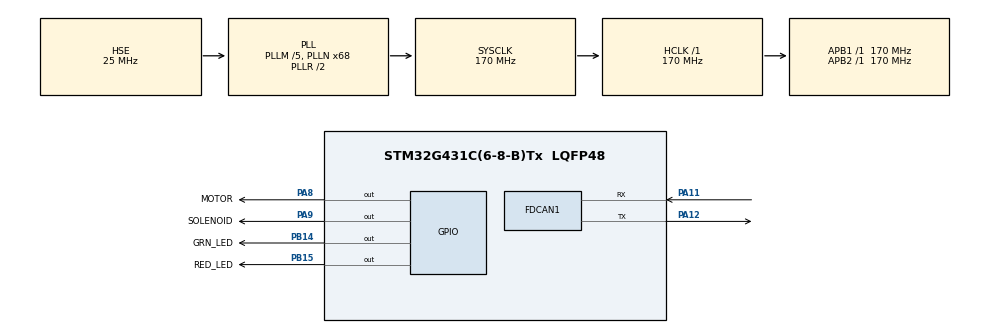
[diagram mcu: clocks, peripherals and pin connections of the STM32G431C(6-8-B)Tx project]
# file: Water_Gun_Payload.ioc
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FDCAN1.CalculateBaudRateNominal=1000000
FDCAN1.CalculateTimeBitNominal=1000
FDCAN1.CalculateTimeQuantumNominal=100.0
FDCAN1.ClockDivider=FDCAN_CLOCK_DIV1
FDCAN1.NominalPrescaler=17
FDCAN1.NominalTimeSeg1=7
FDCAN1.NominalTimeSeg2=2
FREERTOS.Mutexes01=CanardlibMutex,Dynamic,NULL,Available
FREERTOS.Tasks01=CanStatus,16,256,StartCanStatus,Default,NULL,Dynamic,NULL,NULL;CanRx,43,512,StartCanRx,Default,NULL,Dynamic,NULL,NULL;CanTx,32,256,StartCanTx,Default,NULL,Dynamic,NULL,NULL;LedBlink,14,128,StartLedBlink,Default,NULL,Dynamic,NULL,NULL;MotorUpdate,36,256,StartMotorUpdate,Default,NULL,Dynamic,NULL,NULL;ErrorLED,15,128,StartErrorLED,Default,NULL,Dynamic,NULL,NULL
FREERTOS.configMINIMAL_STACK_SIZE=128
FREERTOS.configTOTAL_HEAP_SIZE=12000
Mcu.Family=STM32G4
Mcu.Name=STM32G431C(6-8-B)Tx
Mcu.Package=LQFP48
NVIC.FDCAN1_IT0_IRQn=true\:5\:0\:false\:false\:true\:true\:true\:true\:true
NVIC.PriorityGroup=NVIC_PRIORITYGROUP_4
NVIC.TIM7_IRQn=true\:15\:0\:false\:false\:true\:false\:false\:true\:true
NVIC.TimeBase=TIM7_IRQn
NVIC.TimeBaseIP=TIM7
PA11.Mode=FDCAN_Activate
PA11.Signal=FDCAN1_RX
PA12.Mode=FDCAN_Activate
PA12.Signal=FDCAN1_TX
PA13.Mode=Serial_Wire
PA13.Signal=SYS_JTMS-SWDIO
PA14.Mode=Serial_Wire
PA14.Signal=SYS_JTCK-SWCLK
PA8.GPIO_Label=MOTOR
PA8.Signal=GPIO_Output
PA9.GPIO_Label=SOLENOID
PA9.Signal=GPIO_Output
PB14.GPIO_Label=GRN_LED
PB14.Signal=GPIO_Output
PB15.GPIO_Label=RED_LED
PB15.Signal=GPIO_Output
PF0-OSC_IN.Mode=HSE-External-Oscillator
PF0-OSC_IN.Signal=RCC_OSC_IN
PF1-OSC_OUT.Mode=HSE-External-Oscillator
PF1-OSC_OUT.Signal=RCC_OSC_OUT
ProjectManager.HeapSize=0x200
ProjectManager.StackSize=0x400
ProjectManager.TargetToolchain=CMake
RCC.ADC12Freq_Value=170000000
RCC.AHBFreq_Value=170000000
RCC.APB1Freq_Value=170000000
RCC.APB1TimFreq_Value=170000000
RCC.APB2Freq_Value=170000000
RCC.APB2TimFreq_Value=170000000
RCC.CortexFreq_Value=170000000
RCC.EXTERNAL_CLOCK_VALUE=12288000
RCC.HCLKFreq_Value=170000000
RCC.HSE_VALUE=25000000
RCC.HSI48_VALUE=48000000
RCC.HSI_VALUE=16000000
RCC.LSE_VALUE=32768
RCC.PLLM=RCC_PLLM_DIV5
RCC.PLLN=68
RCC.PLLSourceVirtual=RCC_PLLSOURCE_HSE
RCC.SYSCLKFreq_VALUE=170000000
RCC.SYSCLKSource=RCC_SYSCLKSOURCE_PLLCLK
RCC.USBFreq_Value=170000000
RCC.VCOOutputFreq_Value=340000000
VP_FREERTOS_VS_CMSIS_V2.Mode=CMSIS_V2
VP_SYS_VS_DBSignals.Mode=DisableDeadBatterySignals
VP_SYS_VS_tim7.Mode=TIM7
board=custom

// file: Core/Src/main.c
/* USER CODE BEGIN Header */
/**
  ******************************************************************************
  * @file           : main.c
  * @brief          : Main program body
  ******************************************************************************
  * @attention
  *
  * Copyright (c) 2026 STMicroelectronics.
  * All rights reserved.
  *
  * This software is licensed under terms that can be found in the LICENSE file
  * in the root directory of this software component.
  * If no LICENSE file comes with this software, it is provided AS-IS.
  *
  ******************************************************************************
  */
/* USER CODE END Header */
#include "main.h"
#include "cmsis_os.h"
#include "stm32g4xx_hal_gpio.h"

/* USER CODE BEGIN PTD */
uint32_t servo_error = 0;
/* USER CODE END PTD */

FDCAN_HandleTypeDef hfdcan1;

/* Definitions for CanStatus */
osThreadId_t CanStatusHandle;
const osThreadAttr_t CanStatus_attributes = {
  .name = "CanStatus",
  .priority = (osPriority_t) osPriorityBelowNormal,
  .stack_size = 256 * 4
};
/* Definitions for CanRx */
osThreadId_t CanRxHandle;
const osThreadAttr_t CanRx_attributes = {
  .name = "CanRx",
  .priority = (osPriority_t) osPriorityHigh3,
  .stack_size = 512 * 4
};
/* Definitions for CanTx */
osThreadId_t CanTxHandle;
const osThreadAttr_t CanTx_attributes = {
  .name = "CanTx",
  .priority = (osPriority_t) osPriorityAboveNormal,
  .stack_size = 256 * 4
};
/* Definitions for LedBlink */
osThreadId_t LedBlinkHandle;
const osThreadAttr_t LedBlink_attributes = {
  .name = "LedBlink",
  .priority = (osPriority_t) osPriorityLow6,
  .stack_size = 128 * 4
};
/* Definitions for MotorUpdate */
osThreadId_t MotorUpdateHandle;
const osThreadAttr_t MotorUpdate_attributes = {
  .name = "MotorUpdate",
  .priority = (osPriority_t) osPriorityAboveNormal4,
  .stack_size = 256 * 4
};
/* Definitions for ErrorLED */
osThreadId_t ErrorLEDHandle;
const osThreadAttr_t ErrorLED_attributes = {
  .name = "ErrorLED",
  .priority = (osPriority_t) osPriorityLow7,
  .stack_size = 128 * 4
};
/* Definitions for CanardlibMutex */
osMutexId_t CanardlibMutexHandle;
const osMutexAttr_t CanardlibMutex_attributes = {
  .name = "CanardlibMutex"
};

void SystemClock_Config(void);
static void MX_GPIO_Init(void);
static void MX_FDCAN1_Init(void);
void StartCanStatus(void *argument);
void StartCanRx(void *argument);
void StartCanTx(void *argument);
void StartLedBlink(void *argument);
void StartMotorUpdate(void *argument);
void StartErrorLED(void *argument);

/* USER CODE BEGIN 0 */
void motor_fire(bool status){
  if (status) {
    HAL_GPIO_WritePin(MOTOR_GPIO_Port, MOTOR_Pin, GPIO_PIN_SET);
    HAL_GPIO_WritePin(SOLENOID_GPIO_Port, SOLENOID_Pin, GPIO_PIN_SET);
  }
  else {
    HAL_GPIO_WritePin(MOTOR_GPIO_Port, MOTOR_Pin, GPIO_PIN_RESET);
    HAL_GPIO_WritePin(SOLENOID_GPIO_Port, SOLENOID_Pin, GPIO_PIN_RESET);
  }
}
/* USER CODE END 0 */

int main(void)
{

  /* MCU Configuration--------------------------------------------------------*/

  /* Reset of all peripherals, Initializes the Flash interface and the Systick. */
  HAL_Init();

  /* Configure the system clock */
  SystemClock_Config();

  /* Initialize all configured peripherals */
  MX_GPIO_Init();
  MX_FDCAN1_Init();
  /* USER CODE BEGIN 2 */

  // Setup canbus interupt
  HAL_FDCAN_ConfigInterruptLines(&hfdcan1, FDCAN_IT_GROUP_RX_FIFO0, FDCAN_INTERRUPT_LINE0);
  HAL_FDCAN_ActivateNotification(&hfdcan1, FDCAN_IT_RX_FIFO0_NEW_MESSAGE, 0);

  // Initialize dronecan
  can_node_init(&hfdcan1);

  // Start Canbus
  HAL_FDCAN_Start(&hfdcan1);
  /* USER CODE END 2 */

  /* Init scheduler */
  osKernelInitialize();
  /* Create the mutex(es) */
  /* creation of CanardlibMutex */
  CanardlibMutexHandle = osMutexNew(&CanardlibMutex_attributes);

  /* Create the thread(s) */
  /* creation of CanStatus */
  CanStatusHandle = osThreadNew(StartCanStatus, NULL, &CanStatus_attributes);

  /* creation of CanRx */
  CanRxHandle = osThreadNew(StartCanRx, NULL, &CanRx_attributes);

  /* creation of CanTx */
  CanTxHandle = osThreadNew(StartCanTx, NULL, &CanTx_attributes);

  /* creation of LedBlink */
  LedBlinkHandle = osThreadNew(StartLedBlink, NULL, &LedBlink_attributes);

  /* creation of MotorUpdate */
  MotorUpdateHandle = osThreadNew(StartMotorUpdate, NULL, &MotorUpdate_attributes);

  /* creation of ErrorLED */
  ErrorLEDHandle = osThreadNew(StartErrorLED, NULL, &ErrorLED_attributes);

  /* Start scheduler */
  osKernelStart();

  /* We should never get here as control is now taken by the scheduler */

  /* Infinite loop */
  while (1)
  {

  }
}

void SystemClock_Config(void)
{
  RCC_OscInitTypeDef RCC_OscInitStruct = {0};
  RCC_ClkInitTypeDef RCC_ClkInitStruct = {0};

  /** Configure the main internal regulator output voltage
  */
  HAL_PWREx_ControlVoltageScaling(PWR_REGULATOR_VOLTAGE_SCALE1_BOOST);

  /** Initializes the RCC Oscillators according to the specified parameters
  * in the RCC_OscInitTypeDef structure.
  */
  RCC_OscInitStruct.OscillatorType = RCC_OSCILLATORTYPE_HSE;
  RCC_OscInitStruct.HSEState = RCC_HSE_ON;
  RCC_OscInitStruct.PLL.PLLState = RCC_PLL_ON;
  RCC_OscInitStruct.PLL.PLLSource = RCC_PLLSOURCE_HSE;
  RCC_OscInitStruct.PLL.PLLM = RCC_PLLM_DIV5;
  RCC_OscInitStruct.PLL.PLLN = 68;
  RCC_OscInitStruct.PLL.PLLP = RCC_PLLP_DIV2;
  RCC_OscInitStruct.PLL.PLLQ = RCC_PLLQ_DIV2;
  RCC_OscInitStruct.PLL.PLLR = RCC_PLLR_DIV2;
  if (HAL_RCC_OscConfig(&RCC_OscInitStruct) != HAL_OK)
  {
    Error_Handler();
  }

  /** Initializes the CPU, AHB and APB buses clocks
  */
  RCC_ClkInitStruct.ClockType = RCC_CLOCKTYPE_HCLK|RCC_CLOCKTYPE_SYSCLK
                              |RCC_CLOCKTYPE_PCLK1|RCC_CLOCKTYPE_PCLK2;
  RCC_ClkInitStruct.SYSCLKSource = RCC_SYSCLKSOURCE_PLLCLK;
  RCC_ClkInitStruct.AHBCLKDivider = RCC_SYSCLK_DIV1;
  RCC_ClkInitStruct.APB1CLKDivider = RCC_HCLK_DIV1;
  RCC_ClkInitStruct.APB2CLKDivider = RCC_HCLK_DIV1;

  if (HAL_RCC_ClockConfig(&RCC_ClkInitStruct, FLASH_LATENCY_4) != HAL_OK)
  {
    Error_Handler();
  }
}

static void MX_FDCAN1_Init(void)
{

  hfdcan1.Instance = FDCAN1;
  hfdcan1.Init.ClockDivider = FDCAN_CLOCK_DIV1;
  hfdcan1.Init.FrameFormat = FDCAN_FRAME_CLASSIC;
  hfdcan1.Init.Mode = FDCAN_MODE_NORMAL;
  hfdcan1.Init.AutoRetransmission = DISABLE;
  hfdcan1.Init.TransmitPause = DISABLE;
  hfdcan1.Init.ProtocolException = DISABLE;
  hfdcan1.Init.NominalPrescaler = 17;
  hfdcan1.Init.NominalSyncJumpWidth = 1;
  hfdcan1.Init.NominalTimeSeg1 = 7;
  hfdcan1.Init.NominalTimeSeg2 = 2;
  hfdcan1.Init.DataPrescaler = 1;
  hfdcan1.Init.DataSyncJumpWidth = 1;
  hfdcan1.Init.DataTimeSeg1 = 1;
  hfdcan1.Init.DataTimeSeg2 = 1;
  hfdcan1.Init.StdFiltersNbr = 0;
  hfdcan1.Init.ExtFiltersNbr = 0;
  hfdcan1.Init.TxFifoQueueMode = FDCAN_TX_FIFO_OPERATION;
  if (HAL_FDCAN_Init(&hfdcan1) != HAL_OK)
  {
    Error_Handler();
  }

}

static void MX_GPIO_Init(void)
{
  GPIO_InitTypeDef GPIO_InitStruct = {0};

  /* GPIO Ports Clock Enable */
  __HAL_RCC_GPIOF_CLK_ENABLE();
  __HAL_RCC_GPIOB_CLK_ENABLE();
  __HAL_RCC_GPIOA_CLK_ENABLE();

  /*Configure GPIO pin Output Level */
  HAL_GPIO_WritePin(GPIOB, GRN_LED_Pin|RED_LED_Pin, GPIO_PIN_RESET);

  /*Configure GPIO pin Output Level */
  HAL_GPIO_WritePin(GPIOA, MOTOR_Pin|SOLENOID_Pin, GPIO_PIN_RESET);

  /*Configure GPIO pins : GRN_LED_Pin RED_LED_Pin */
  GPIO_InitStruct.Pin = GRN_LED_Pin|RED_LED_Pin;
  GPIO_InitStruct.Mode = GPIO_MODE_OUTPUT_PP;
  GPIO_InitStruct.Pull = GPIO_NOPULL;
  GPIO_InitStruct.Speed = GPIO_SPEED_FREQ_LOW;
  HAL_GPIO_Init(GPIOB, &GPIO_InitStruct);

  /*Configure GPIO pins : MOTOR_Pin SOLENOID_Pin */
  GPIO_InitStruct.Pin = MOTOR_Pin|SOLENOID_Pin;
  GPIO_InitStruct.Mode = GPIO_MODE_OUTPUT_PP;
  GPIO_InitStruct.Pull = GPIO_NOPULL;
  GPIO_InitStruct.Speed = GPIO_SPEED_FREQ_LOW;
  HAL_GPIO_Init(GPIOA, &GPIO_InitStruct);

}

/* USER CODE BEGIN 4 */
uint32_t introduce_jitter(uint32_t range_ms){
  int32_t uid = HAL_GetUIDw0() ^ HAL_GetUIDw1() ^ HAL_GetUIDw2();
  return uid % range_ms;
}

// Canbus interupt
void HAL_FDCAN_RxFifo0Callback(FDCAN_HandleTypeDef *hfdcan, uint32_t flags){
  (void) flags;

  // Run library function to clear can buffer to ring buffer
  can_node_rx_isr(hfdcan);

  // Notify rx task to run
  BaseType_t woken = pdFALSE;
  vTaskNotifyGiveFromISR(CanRxHandle, &woken);
  portYIELD_FROM_ISR(woken);
}
/* USER CODE END 4 */

void StartCanStatus(void *argument)
{
  /* USER CODE BEGIN 5 */
  (void) argument;
  osDelay(introduce_jitter(1000));
  uint32_t ticks = osKernelGetTickCount();

  for(;;)
  {
    // Wait 1 second
    ticks += 1000U;
    osDelayUntil(ticks);

    // Aquire canbus mutex
    if (osMutexAcquire(CanardlibMutexHandle, osWaitForever) == osOK)
    {
      // Send update
      can_node_1hz_tasks();

      osMutexRelease(CanardlibMutexHandle);
    }
      // Notify canbus transmit task to send data
      xTaskNotifyGive(CanTxHandle);
  }
  /* USER CODE END 5 */
}

void StartCanRx(void *argument)
{
  /* USER CODE BEGIN StartCanRx */
  (void) argument;

  // Getting node allocated
  uint8_t can_id_status = 0;

  // Turn red led on to indicate wait in progress
  HAL_GPIO_WritePin(RED_LED_GPIO_Port, RED_LED_Pin, GPIO_PIN_SET);

  // Wait untill node allocated
  while(can_id_status != 1) {

    // Thread safe delay, precision not required
    osDelay(20);

    // Get canbus mutex
    if(osMutexAcquire(CanardlibMutexHandle, osWaitForever) == osOK)
    {
      // Process incoming messages
      while(can_node_dequeue_and_process()) {}

      // Try to get dynamic node, returns 2 to signal data transmission required, 1 if recieved and 0 if else
      can_id_status = can_node_poll_dna();

      // Transmit data if required
      if (can_id_status == 2)
      {
        xTaskNotifyGive(CanTxHandle);
      }

      osMutexRelease(CanardlibMutexHandle);
    }
  }

  // Turn off red led - Node aquired
  HAL_GPIO_WritePin(RED_LED_GPIO_Port, RED_LED_Pin, GPIO_PIN_RESET);

  /* Infinite loop */
  for(;;)
  {

    // Wait forever untill triggered by canbus interupt
    ulTaskNotifyTake(pdTRUE, portMAX_DELAY);

    // Aquire mutex
    if (osMutexAcquire(CanardlibMutexHandle, osWaitForever) == osOK)
    {
      // Process canbus rx frames
      while(can_node_dequeue_and_process()) {}
      osMutexRelease(CanardlibMutexHandle);
    }
      // Notify canbus tx task to send data
      // Done as processing data can require responding
      xTaskNotifyGive(CanTxHandle);
  }
  /* USER CODE END StartCanRx */
}

void StartCanTx(void *argument)
{
  /* USER CODE BEGIN StartCanTx */
  for(;;)
  {
    // Wait forever untill function is called
    ulTaskNotifyTake(pdTRUE, portMAX_DELAY);

    // Aquire canbus mutex
    if(osMutexAcquire(CanardlibMutexHandle, osWaitForever) == osOK)
    {
      // Call drone can send data function
      can_node_flush_tx();
      osMutexRelease(CanardlibMutexHandle);
    }
  }
  /* USER CODE END StartCanTx */
}

void StartLedBlink(void *argument)
{
  /* USER CODE BEGIN StartLedBlink */
  (void) argument;
  osDelay(introduce_jitter(1000));
  /* Infinite loop */
  for(;;)
  {
    HAL_GPIO_WritePin(GRN_LED_GPIO_Port, GRN_LED_Pin, GPIO_PIN_SET);
    osDelay(100);
    HAL_GPIO_WritePin(GRN_LED_GPIO_Port, GRN_LED_Pin, GPIO_PIN_RESET);
    osDelay(900);
  }
  /* USER CODE END StartLedBlink */
}

void StartMotorUpdate(void *argument)
{
  /* USER CODE BEGIN StartMotorUpdate */
  (void) argument;
  osDelay(introduce_jitter(1000));
  uint32_t ticks = osKernelGetTickCount();
  update_tracking servo_status[SERVO_COUNT] = {0};
  /* Infinite loop */
  for(;;)
  {
    // Update at 50hz
    ticks += 20;
    osDelayUntil(ticks);
    for(int i = 0; i < SERVO_COUNT; i++){
      if (servos[i].last_update != servo_status[i].last_update){
        servo_status[i].update_failed_count = 0;
        servo_status[i].update_without_fault ++;
        if (servo_status[i].update_without_fault > 50) servo_error &= ~(1u << i);
        // If servo command large spin one way, if small spin the other, else do nothing
        (servos[i].servo_cmd > SERVO_UPPER_LIMIT) ? motor_fire(true) : motor_fire(false);
      }
      else {
        servo_status[i].update_failed_count ++;
        servo_status[i].update_without_fault = 0;
        if (servo_status[i].update_failed_count >= ALLOWED_SERVO_FAILS) {
          motor_fire(false);
          servo_error |= (1u << i);
        }
      }
      servo_status[i].last_update = servos[i].last_update;
    }
  }
  /* USER CODE END StartMotorUpdate */
}

void StartErrorLED(void *argument)
{
  /* USER CODE BEGIN StartErrorLED */
  /* Infinite loop */
  for(;;)
  {
    osDelay(500);
    if (servo_error != 0){
      HAL_GPIO_WritePin(RED_LED_GPIO_Port, RED_LED_Pin, GPIO_PIN_SET);
    }
    else {
      HAL_GPIO_WritePin(RED_LED_GPIO_Port, RED_LED_Pin, GPIO_PIN_RESET);
    }
  }
  /* USER CODE END StartErrorLED */
}

void HAL_TIM_PeriodElapsedCallback(TIM_HandleTypeDef *htim)
{
  if (htim->Instance == TIM7)
  {
    HAL_IncTick();
  }
}

void Error_Handler(void)
{
  __disable_irq();
  while (1)
  {
  }
}
